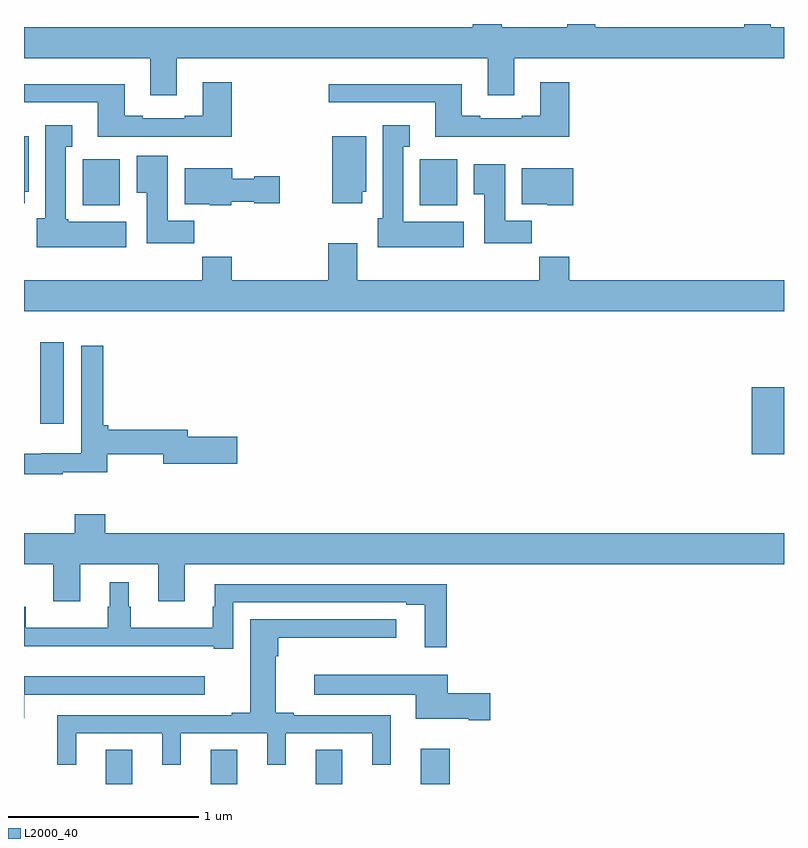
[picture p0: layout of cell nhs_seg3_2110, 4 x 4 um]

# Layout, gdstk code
import gdstk
lib = gdstk.Library(unit=1e-6, precision=1e-09)
def R(c, l, rs):  # rectangles x0, y0, x1, y1
    for r in rs: c.add(gdstk.rectangle(r[:2], r[2:], *l))
def A(c, l, x, y, w, h, nx, ny, dx, dy):  # array of equal rectangles
    R(c, l, [(x+i*dx, y+j*dy, x+i*dx+w, y+j*dy+h) for i in range(nx) for j in range(ny)])
def P(c, l, *ps):  # polygons
    for p in ps: c.add(gdstk.Polygon(p, *l))
L2000_40 = (2000, 40)

nhs_seg3_2110 = lib.new_cell('nhs_seg3_2110')
A(nhs_seg3_2110, L2000_40, 219.431, 726.4, 0.14, 0.181, 3, 1, 0.552, 0)
R(nhs_seg3_2110, L2000_40, [(221.087,726.4,221.24,726.586), (222.83,728.135,223,728.488), (219.086,728.295,219.208,728.725), (219.308,729.446,219.505,729.688), (221.084,729.446,221.281,729.688)])
P(nhs_seg3_2110, L2000_40, [(219.805,730.22),(221.441,730.22),(221.441,730.026),(221.581,730.026),(221.581,730.22),(223,730.22),(223,730.384),(222.931,730.384),(222.931,730.4),(222.791,730.4),(222.791,730.384),(222.007,730.384),(222.007,730.4),(221.86,730.4),(221.86,730.384),(221.515,730.384),(221.515,730.4),(221.363,730.4),(221.363,730.384),(219,730.384),(219,730.22),(219.665,730.22),(219.665,730.026),(219.805,730.026)],
  [(220.094,730.093),(219.941,730.093),(219.941,729.916),(219.845,729.916),(219.845,729.903),(219.625,729.903),(219.625,729.916),(219.529,729.916),(219.529,730.084),(219,730.084),(219,729.987),(219.389,729.987),(219.389,729.807),(219.853,729.807),(219.853,729.806),(220.094,729.806)],
  [(221.87,730.093),(221.717,730.093),(221.717,729.916),(221.621,729.916),(221.621,729.903),(221.401,729.903),(221.401,729.916),(221.305,729.916),(221.305,730.084),(220.605,730.084),(220.605,729.987),(221.165,729.987),(221.165,729.806),(221.87,729.806)],
  [(219.538,729.358),(219.234,729.358),(219.234,729.372),(219.22,729.372),(219.22,729.755),(219.253,729.755),(219.253,729.868),(219.113,729.868),(219.113,729.378),(219.068,729.378),(219.068,729.224),(219.538,729.224)],
  [(221.314,729.358),(220.996,729.358),(220.996,729.755),(221.029,729.755),(221.029,729.868),(220.889,729.868),(220.889,729.378),(220.862,729.378),(220.862,729.224),(221.314,729.224)],
  [(220.78,729.516),(220.801,729.516),(220.801,729.808),(220.622,729.808),(220.622,729.456),(220.78,729.456)],
  [(219.004,729.516),(219.025,729.516),(219.025,729.808),(219,729.808),(219,729.456),(219.004,729.456)],
  [(219.896,729.364),(219.757,729.364),(219.757,729.706),(219.593,729.706),(219.593,729.512),(219.647,729.512),(219.647,729.246),(219.896,729.246)],
  [(221.672,729.364),(221.533,729.364),(221.533,729.661),(221.366,729.661),(221.366,729.505),(221.423,729.505),(221.423,729.246),(221.672,729.246)],
  [(221.89,729.64),(221.621,729.64),(221.621,729.452),(221.754,729.452),(221.754,729.446),(221.89,729.446)],
  [(220.092,729.464),(220.212,729.464),(220.212,729.457),(220.345,729.457),(220.345,729.599),(220.212,729.599),(220.212,729.586),(220.096,729.586),(220.096,729.64),(219.845,729.64),(219.845,729.452),(219.978,729.452),(219.978,729.446),(220.092,729.446)],
  [(223,729.052),(221.87,729.052),(221.87,729.176),(221.713,729.176),(221.713,729.052),(220.753,729.052),(220.753,729.247),(220.601,729.247),(220.601,729.052),(220.094,729.052),(220.094,729.176),(219.937,729.176),(219.937,729.052),(219,729.052),(219,728.888),(223,728.888)],
  [(219.203,728.041),(219.438,728.041),(219.438,728.136),(219.734,728.136),(219.734,728.086),(220.123,728.086),(220.123,728.228),(219.862,728.228),(219.862,728.264),(219.443,728.264),(219.443,728.288),(219.416,728.288),(219.416,728.707),(219.3,728.707),(219.3,728.14),(219.09,728.14),(219.09,728.139),(219,728.139),(219,728.031),(219.203,728.031)],
  [(219.295,727.556),(219.707,727.556),(219.707,727.362),(219.847,727.362),(219.847,727.556),(223,727.556),(223,727.72),(219.428,727.72),(219.428,727.819),(219.268,727.819),(219.268,727.72),(219,727.72),(219,727.556),(219.155,727.556),(219.155,727.362),(219.295,727.362)],
  [(220.101,727.356),(221.012,727.356),(221.012,727.344),(221.108,727.344),(221.108,727.119),(221.225,727.119),(221.225,727.452),(220.004,727.452),(220.004,727.334),(219.993,727.334),(219.993,727.222),(219.562,727.222),(219.562,727.334),(219.55,727.334),(219.55,727.462),(219.452,727.462),(219.452,727.334),(219.441,727.334),(219.441,727.222),(219.01,727.222),(219.01,727.334),(219,727.334),(219,727.124),(219.998,727.124),(219.998,727.113),(220.101,727.113)],
  [(219.274,726.666),(219.728,726.666),(219.728,726.501),(219.826,726.501),(219.826,726.666),(220.28,726.666),(220.28,726.501),(220.378,726.501),(220.378,726.666),(220.832,726.666),(220.832,726.501),(220.93,726.501),(220.93,726.762),(220.42,726.762),(220.42,726.775),(220.324,726.775),(220.324,727.073),(220.337,727.073),(220.337,727.169),(220.96,727.169),(220.96,727.266),(220.19,727.266),(220.19,726.775),(220.094,726.775),(220.094,726.762),(219.176,726.762),(219.176,726.501),(219.274,726.501)],
  [(221.455,726.878),(221.23,726.878),(221.23,726.976),(220.527,726.976),(220.527,726.869),(221.063,726.869),(221.063,726.743),(221.342,726.743),(221.342,726.736),(221.455,726.736)],
  [(219.001,726.87),(219.952,726.87),(219.952,726.967),(219,726.967),(219,726.746),(219.001,726.746)])

lib.write_gds('nhs_seg3_2110.gds')
